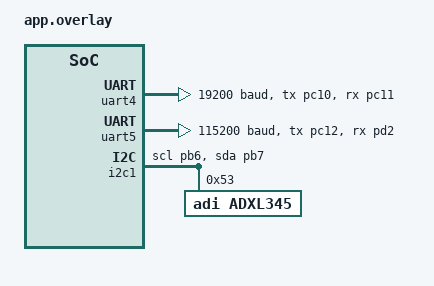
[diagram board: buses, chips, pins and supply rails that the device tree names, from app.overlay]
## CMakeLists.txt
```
cmake_minimum_required(VERSION 3.20.0)

find_package(Zephyr REQUIRED HINTS $ENV{ZEPHYR_BASE})
project(projet_transversal)

FILE(GLOB app_sources src/*.c)
target_sources(app PRIVATE src/final.c)
```

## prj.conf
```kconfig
CONFIG_SERIAL=y
CONFIG_CONSOLE=y
CONFIG_UART_CONSOLE=y
CONFIG_UART_INTERRUPT_DRIVEN=n

CONFIG_FPU=y
CONFIG_CBPRINTF_FP_SUPPORT=y

CONFIG_I2C=y
CONFIG_SENSOR=y
CONFIG_ADXL345=y
```

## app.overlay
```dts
&uart4 {
    pinctrl-0 = <&uart4_tx_pc10 &uart4_rx_pc11>;
    pinctrl-names = "default";
    current-speed = <19200>;
    status = "okay";
};

&uart5 {
    pinctrl-0 = <&uart5_tx_pc12 &uart5_rx_pd2>;
    pinctrl-names = "default";
    current-speed = <115200>;
    status = "okay";
};

&i2c1 {
    status = "okay";
    pinctrl-0 = <&i2c1_scl_pb6 &i2c1_sda_pb7>;
    pinctrl-names = "default";

    adxl345: adxl345@53 {
        compatible = "adi,adxl345";
        reg = <0x53>;
        status = "okay";
    };
};


&pinctrl {
    uart4_tx_pc10: uart4_tx_pc10 {
        pinmux = <STM32_PINMUX('C', 10, AF5)>;
        bias-pull-up;
	    drive-open-drain;	
        slew-rate = "very-high-speed";

    };

    uart4_rx_pc11: uart4_rx_pc11 {
        pinmux = <STM32_PINMUX('C', 11, AF5)>;
        bias-pull-up;
    };


    uart5_tx_pc12: uart5_tx_pc12 {
        pinmux = <STM32_PINMUX('C', 12, AF5)>;
        /*drive-open-drain;*/
        bias-pull-up;
        slew-rate = "very-high-speed";
    };

    uart5_rx_pd2: uart5_rx_pd2 {
        pinmux = <STM32_PINMUX('D', 2, AF5)>;
        bias-pull-up;
    };

    i2c1_scl_pb6: i2c1_scl_pb6 {
        pinmux = <STM32_PINMUX('B', 6, AF4)>;
        drive-open-drain;
        bias-pull-up;
    };
    i2c1_sda_pb7: i2c1_sda_pb7 {
        pinmux = <STM32_PINMUX('B', 7, AF4)>;
        drive-open-drain;
        bias-pull-up;
    };
};


&gpioa {
    status = "okay";
};
&gpiob {
    status = "okay";
};
```

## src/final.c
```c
#include <zephyr/kernel.h>
#include <zephyr/device.h>
#include <zephyr/drivers/uart.h>
#include <zephyr/drivers/gpio.h>
#include <zephyr/drivers/sensor.h>
#include <zephyr/sys/atomic.h>
#include <string.h>
#include <stdio.h>
#include <zephyr/devicetree.h>

#define SERIALIZER_DEV DT_NODELABEL(uart4)
#define RPI_UART_DEV   DT_NODELABEL(uart5)
#define GPIOA_NODE     DT_NODELABEL(gpioa)
#define ACCEL_NODE     DT_NODELABEL(adxl345)
#define BUTTON_NODE    DT_ALIAS(sw0)

#define RX_BUF_SIZE          64
#define CHOC_THRESHOLD_Z     8.0f
#define CHOC_THRESHOLD_X     8.0f
#define CHOC_THRESHOLD_Y     8.0f
#define UART_READ_TIMEOUT_MS 100

static const struct device        *serializer, *gpioa, *accel_dev;
static const struct device        *rpi_uart;
static const struct gpio_dt_spec   button = GPIO_DT_SPEC_GET(BUTTON_NODE, gpios);

static atomic_t is_moving_forward  = ATOMIC_INIT(0);
static atomic_t shared_distance_cm = ATOMIC_INIT(999);

K_MUTEX_DEFINE(serializer_mutex);
K_MUTEX_DEFINE(rpi_uart_mutex);     /* protection uart5 partagé entre threads */

/* ── Stacks des threads ───────────────────────────────────────────────── */
#define ACCEL_STACK_SIZE   1024
#define ACCEL_PRIORITY        5
#define SONAR_STACK_SIZE   1024
#define SONAR_PRIORITY        6
#define BUTTON_STACK_SIZE   512
#define BUTTON_PRIORITY       4   /* priorité plus haute : réactivité bouton */

K_THREAD_STACK_DEFINE(accel_stack_area,  ACCEL_STACK_SIZE);
K_THREAD_STACK_DEFINE(sonar_stack_area,  SONAR_STACK_SIZE);
K_THREAD_STACK_DEFINE(button_stack_area, BUTTON_STACK_SIZE);

struct k_thread accel_thread_data;
struct k_thread sonar_thread_data;
struct k_thread button_thread_data;

/* ════════════════════════════════════════════════════════════════════════
 *  Utilitaires
 * ════════════════════════════════════════════════════════════════════════ */

static void print_float(const char *prefix, float val, const char *suffix)
{
    int sign    = (val < 0.0f) ? -1 : 1;
    float abs_v = (val < 0.0f) ? -val : val;
    int integer = (int)abs_v;
    int frac    = (int)((abs_v - (float)integer) * 100.0f);

    if (sign < 0) {
        printk("%s-%d.%02d%s", prefix, integer, frac, suffix);
    } else {
        printk("%s%d.%02d%s", prefix, integer, frac, suffix);
    }
}

/* ════════════════════════════════════════════════════════════════════════
 *  Envoi UART
 * ════════════════════════════════════════════════════════════════════════ */

static void uart_send_raw(const struct device *dev, const char *msg)
{
    for (int i = 0; msg[i] != '\0'; i++) {
        uart_poll_out(dev, msg[i]);
    }
}

static void robot_send_cmd(const struct device *dev, const char *cmd)
{
    printk("[SERIAL→] '%s\r'\n", cmd);  /* log avant envoi */
    size_t len = strlen(cmd);
    for (int i = 0; i < (int)len; i++) {
        uart_poll_out(dev, cmd[i]);
    }
    uart_poll_out(dev, '\r');
}

/* Envoi vers RPi (uart5) — protégé mutex */
static void rpi_send(const char *msg)
{
    k_mutex_lock(&rpi_uart_mutex, K_FOREVER);
    uart_send_raw(rpi_uart, msg);
    k_mutex_unlock(&rpi_uart_mutex);
    printk("[TX→RPi] %s", msg);
}

/* ════════════════════════════════════════════════════════════════════════
 *  Commandes moteurs
 * ════════════════════════════════════════════════════════════════════════ */

static void safe_stop(void)
{
    k_mutex_lock(&serializer_mutex, K_FOREVER);
    robot_send_cmd(serializer, "stop");
    k_mutex_unlock(&serializer_mutex);
    atomic_set(&is_moving_forward, 0);
    printk("[MOTOR] STOP (safe)\n");
}

void set_motors(const struct device *uart_dev, int left_velocity, int right_velocity)
{
    char cmd[64];
    snprintf(cmd, sizeof(cmd), "mogo 1:%d 2:%d;", left_velocity, right_velocity);

    k_mutex_lock(&serializer_mutex, K_FOREVER);
    robot_send_cmd(uart_dev, cmd);
    k_mutex_unlock(&serializer_mutex);

    atomic_set(&is_moving_forward,
               (left_velocity > 0 && right_velocity > 0) ? 1 : 0);

    printk("[MOTOR] L=%d R=%d\n", left_velocity, right_velocity);
    printk("[MOTOR] set_motors L=%d R=%d → cmd='%s'\n", left_velocity, right_velocity, cmd);
}

void stop(const struct device *uart_dev)
{
    k_mutex_lock(&serializer_mutex, K_FOREVER);
    robot_send_cmd(uart_dev, "stop");
    k_mutex_unlock(&serializer_mutex);
    atomic_set(&is_moving_forward, 0);
    printk("[MOTOR] STOP\n");
}

/* ════════════════════════════════════════════════════════════════════════
 *  Parsing / exécution commandes RPi
 * ════════════════════════════════════════════════════════════════════════ */

int uart_read_line(const struct device *dev, int first_char,
                   char *buf, int max_len, uint32_t timeout_ms)
{
    int idx = 0;
    unsigned char c;

    if (first_char >= 0 && first_char != '\r' && first_char != '\n') {
        if (idx < max_len - 1) {
            buf[idx++] = (unsigned char)first_char;
        }
    }

    uint32_t deadline = k_uptime_get_32() + timeout_ms;

    while (1) {
        if (uart_poll_in(dev, &c) == 0) {
            if (c == '\r' || c == '\n') {
                if (idx > 0) {
                    buf[idx] = '\0';
                    return idx;
                }
            } else if (idx < max_len - 1) {
                buf[idx++] = c;
            }
        }

        if (k_uptime_get_32() >= deadline) {
            if (idx > 0) {
                buf[idx] = '\0';
                return idx;
            }
            return -1;
        }

        k_yield();
    }
}

typedef enum {
    CMD_FORWARD, CMD_BACKWARD, CMD_TURN_LEFT, CMD_TURN_RIGHT,
    CMD_STOP, CMD_UNKNOWN
} command_t;

typedef struct { command_t cmd; int v; int turn; } robot_command_t;

command_t parse_command(const char *str, int *v, int *turn)
{
    char cmd[16];
    *v    = 0;
    *turn = 0;
    int n = sscanf(str, "%15s %d %d", cmd, v, turn);

    if (n < 1) return CMD_UNKNOWN;

    if (strcmp(cmd, "FWD")  == 0) return CMD_FORWARD;
    if (strcmp(cmd, "BWD")  == 0) return CMD_BACKWARD;
    if (strcmp(cmd, "TR")   == 0) return CMD_TURN_RIGHT;
    if (strcmp(cmd, "TL")   == 0) return CMD_TURN_LEFT;
    if (strcmp(cmd, "STOP") == 0) return CMD_STOP;

    return CMD_UNKNOWN;
}

void execute_command(const struct device *uart_dev, robot_command_t *c)
{
    switch (c->cmd) {
        case CMD_FORWARD:
            set_motors(uart_dev,  c->v,              c->v);             break;
        case CMD_BACKWARD:
            set_motors(uart_dev, -c->v,             -c->v);             break;
        case CMD_TURN_LEFT:
            set_motors(uart_dev,  c->v + c->turn,    c->v - c->turn);   break;
        case CMD_TURN_RIGHT:
            set_motors(uart_dev,  c->v - c->turn,    c->v + c->turn);   break;
        case CMD_STOP:
            stop(uart_dev); break;
        default:
            printk("[CMD] Commande inconnue → STOP\n");
            stop(uart_dev); break;
    }
}

void process(const struct device *uart_dev, char *msg)
{
    robot_command_t cmd;
    int v = 0, turn = 0;

    cmd.cmd  = parse_command(msg, &v, &turn);
    cmd.v    = v;
    cmd.turn = turn;

    execute_command(uart_dev, &cmd);
}

/* ════════════════════════════════════════════════════════════════════════
 *  Thread : sonar HC-SR04
 * ════════════════════════════════════════════════════════════════════════ */

static uint32_t measure_distance_once(void)
{
    gpio_pin_set(gpioa, 8, 1);
    k_busy_wait(10);
    gpio_pin_set(gpioa, 8, 0);

    uint32_t timeout_rise = 20000u;
    while (!gpio_pin_get(gpioa, 9)) {
        if (timeout_rise-- == 0) return 999u;
        k_busy_wait(1);
    }
    uint32_t start = k_cycle_get_32();

    uint32_t timeout_fall = 20000u;
    while (gpio_pin_get(gpioa, 9)) {
        if (timeout_fall-- == 0) return 999u;
        k_busy_wait(1);
    }
    uint32_t end = k_cycle_get_32();

    uint32_t microseconds = k_cyc_to_us_floor32(end - start);
    return microseconds / 58u;
}

void sonar_thread_main(void *p1, void *p2, void *p3)
{
    ARG_UNUSED(p1); ARG_UNUSED(p2); ARG_UNUSED(p3);

    printk("[SONAR] Thread démarré\n");

    while (1) {
        uint32_t d = measure_distance_once();
        atomic_set(&shared_distance_cm, (atomic_val_t)d);

        if (d < 50u) {
            printk("[SONAR] Distance : %u cm\n", d);
        }

        k_msleep(50);
    }
}

/* ════════════════════════════════════════════════════════════════════════
 *  Thread : accéléromètre ADXL345
 * ════════════════════════════════════════════════════════════════════════ */

void accel_thread_main(void *p1, void *p2, void *p3)
{
    ARG_UNUSED(p1); ARG_UNUSED(p2); ARG_UNUSED(p3);

    printk("[ACCEL] Thread démarré\n");

    struct sensor_value accel[3];

    while (1) {
        if (sensor_sample_fetch(accel_dev) < 0) {
            printk("[ACCEL] Erreur fetch ADXL345\n");
            k_msleep(20);
            continue;
        }

        sensor_channel_get(accel_dev, SENSOR_CHAN_ACCEL_XYZ, accel);

        float x  = sensor_value_to_float(&accel[0]);
        float y  = sensor_value_to_float(&accel[1]);
        float z  = sensor_value_to_float(&accel[2]);
        float dz = z - 23.0f;

        if (x > CHOC_THRESHOLD_X || x < -CHOC_THRESHOLD_X) {
            safe_stop();
            print_float("[ACCEL] COLLISION X : ", x, " m/s2\n");
        } else if (y > CHOC_THRESHOLD_Y || y < -CHOC_THRESHOLD_Y) {
            safe_stop();
            print_float("[ACCEL] COLLISION Y : ", y, " m/s2\n");
        } else if (dz > CHOC_THRESHOLD_Z || dz < -CHOC_THRESHOLD_Z) {
            safe_stop();
            print_float("[ACCEL] PERTURBATION Z : ", z, " m/s2\n");
        }

        k_msleep(20);
    }
}

/* ════════════════════════════════════════════════════════════════════════
 *  Thread : bouton physique → CONFIRM vers RPi
 * ════════════════════════════════════════════════════════════════════════ */

void button_thread_main(void *p1, void *p2, void *p3)
{
    ARG_UNUSED(p1); ARG_UNUSED(p2); ARG_UNUSED(p3);

    printk("[BTN] Thread démarré (sw0)\n");

    int last_state = gpio_pin_get_dt(&button);

    while (1) {
        int state = gpio_pin_get_dt(&button);

        if (state == 0 && last_state == 1) {
            /* Front montant détecté → appui bouton */
            printk("[BTN] Appui détecté → envoi CONFIRM vers RPi\n");
            rpi_send("CONFIRM\r\n");
        }

        last_state = state;
        k_msleep(50); /* anti-rebond */
    }
}

/* ════════════════════════════════════════════════════════════════════════
 *  main
 * ════════════════════════════════════════════════════════════════════════ */

int main(void)
{
    serializer = DEVICE_DT_GET(SERIALIZER_DEV);
    rpi_uart   = DEVICE_DT_GET(RPI_UART_DEV);
    gpioa      = DEVICE_DT_GET(GPIOA_NODE);
    accel_dev  = DEVICE_DT_GET(ACCEL_NODE);

    /* Vérification des périphériques */
    if (!device_is_ready(serializer)) {
        printk("[INIT] ERREUR : serializer (uart4) non prêt\n"); return 0;
    }
    if (!device_is_ready(rpi_uart)) {
        printk("[INIT] ERREUR : rpi_uart (uart5) non prêt\n");   return 0;
    }
    if (!device_is_ready(gpioa)) {
        printk("[INIT] ERREUR : gpioa non prêt\n");               return 0;
    }
    if (!device_is_ready(accel_dev)) {
        printk("[INIT] ERREUR : ADXL345 non prêt\n");             return 0;
    }
    if (!gpio_is_ready_dt(&button)) {
        printk("[INIT] ERREUR : bouton (sw0) non prêt\n");        return 0;
    }

    /* Config GPIO */
    gpio_pin_configure(gpioa, 8, GPIO_OUTPUT_INACTIVE); /* sonar TRIG */
    gpio_pin_configure(gpioa, 9, GPIO_INPUT);           /* sonar ECHO */
    gpio_pin_configure_dt(&button, GPIO_INPUT);

    printk("[INIT] Tous les périphériques OK\n");

    /* Lancement des threads */
    k_tid_t accel_tid = k_thread_create(
        &accel_thread_data, accel_stack_area,
        K_THREAD_STACK_SIZEOF(accel_stack_area),
        accel_thread_main, NULL, NULL, NULL,
        ACCEL_PRIORITY, 0, K_NO_WAIT);
    k_thread_name_set(accel_tid, "accel_monitor");
    printk("[INIT] Thread accel_monitor lancé\n");

    k_tid_t sonar_tid = k_thread_create(
        &sonar_thread_data, sonar_stack_area,
        K_THREAD_STACK_SIZEOF(sonar_stack_area),
        sonar_thread_main, NULL, NULL, NULL,
        SONAR_PRIORITY, 0, K_NO_WAIT);
    k_thread_name_set(sonar_tid, "sonar_measure");
    printk("[INIT] Thread sonar_measure lancé\n");

    k_tid_t button_tid = k_thread_create(
        &button_thread_data, button_stack_area,
        K_THREAD_STACK_SIZEOF(button_stack_area),
        button_thread_main, NULL, NULL, NULL,
        BUTTON_PRIORITY, 0, K_NO_WAIT);
    k_thread_name_set(button_tid, "button_monitor");
    printk("[INIT] Thread button_monitor lancé\n");

    k_sleep(K_MSEC(1000));

    /* ── Boucle principale : écoute RPi ─────────────────────────────── */
    char rx_buf[RX_BUF_SIZE];
    unsigned char first_char;

    printk("[MAIN] Système prêt. Écoute RPi active (uart5)...\n");

    while (1) {
        uint32_t dist = (uint32_t)atomic_get(&shared_distance_cm);

        /* Sécurité obstacle */
        if (dist > 0 && dist < 20 && atomic_get(&is_moving_forward)) {
            safe_stop();
            printk("[MAIN] OBSTACLE (%u cm) : ARRÊT SÉCURITÉ\n", dist);
        }

        /* Réception commande RPi */
        if (uart_poll_in(rpi_uart, &first_char) == 0) {
            if (first_char == '\n' || first_char == '\r') continue;
            
            printk("[RX] Premier octet : 0x%02X '%c'\n",
                   first_char, (first_char >= 0x20 && first_char < 0x7F) ? first_char : '?');

            int len = uart_read_line(rpi_uart, (int)first_char,
                                     rx_buf, sizeof(rx_buf),
                                     UART_READ_TIMEOUT_MS);
            if (len > 0) {
                printk("[RX] Commande RPi : '%s' (%d octets)\n", rx_buf, len);

                if (strncmp(rx_buf, "FWD", 3) == 0 && dist > 0 && dist < 20) {
                    printk("[RX] FWD refusé : obstacle à %u cm\n", dist);
                    safe_stop();
                } else {
                    process(serializer, rx_buf);
                }
            } else {
                printk("[RX] Timeout ou trame vide, flush buffer\n");
                unsigned char flush;
                while (uart_poll_in(rpi_uart, &flush) == 0) { /* vide */ }
            }
        }

        k_msleep(10);
    }

    return 0;
}
```

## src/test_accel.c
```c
#include <zephyr/kernel.h>
#include <zephyr/device.h>
#include <zephyr/drivers/uart.h>
#include <zephyr/drivers/sensor.h>
#include <zephyr/sys/atomic.h>
#include <zephyr/devicetree.h>
#include <string.h>
#include <stdio.h>

/* ── Périphériques ──────────────────────────────────────────────────────── */
#define SERIALIZER_DEV DT_NODELABEL(uart4)
#define ACCEL_NODE     DT_NODELABEL(adxl345)

/* ── Paramètres du test ─────────────────────────────────────────────────── */
#define TEST_VELOCITY      50    /* Vitesse d'avance (0–127 selon votre Serializer) */
#define RESUME_DELAY_MS  2000    /* Pause après un choc avant de reprendre (ms)     */
#define LOG_INTERVAL_MS   200    /* Affichage des valeurs brutes toutes les N ms    */

/* ── Seuils de détection (en m/s²) ─────────────────────────────────────── */
/*
 * Commencez avec des seuils larges, puis réduisez-les selon vos essais.
 * Valeurs typiques au repos (ADXL345 à plat) :
 *   X ≈ 0, Y ≈ 0, Z ≈ 9.81
 * Un petit coup de main génère typiquement 3–6 m/s² sur l'axe concerné.
 */
#define THRESHOLD_X  8.0f   /* Choc frontal / arrière  */
#define THRESHOLD_Y  8.0f   /* Choc latéral            */
#define THRESHOLD_Z  8.0f   /* Seuil appliqué sur (Z - 9.81), choc vertical */

/* ── Threads ────────────────────────────────────────────────────────────── */
#define ACCEL_STACK_SIZE 1024
#define ACCEL_PRIORITY      5

K_THREAD_STACK_DEFINE(accel_stack_area, ACCEL_STACK_SIZE);
static struct k_thread accel_thread_data;

/* ── Partage d'état entre threads ──────────────────────────────────────── */
static const struct device *serializer;
static const struct device *accel_dev;

K_MUTEX_DEFINE(serializer_mutex);

/*
 * État du robot partagé entre les deux threads :
 *   0 = arrêté / en pause après choc
 *   1 = en marche
 */
static atomic_t robot_running = ATOMIC_INIT(0);

/*
 * Drapeau levé par le thread accéléromètre pour signaler un choc.
 * Le thread principal le lit, attend RESUME_DELAY_MS, puis reprend.
 */
static atomic_t shock_detected = ATOMIC_INIT(0);

/* ── Helpers ────────────────────────────────────────────────────────────── */

/* Affiche un float avec 2 décimales sans %f (compatible printk Zephyr) */
static void print_float(const char *prefix, float val, const char *suffix)
{
    int sign    = (val < 0.0f) ? -1 : 1;
    float abs_v = (val < 0.0f) ? -val : val;
    int integer = (int)abs_v;
    int frac    = (int)((abs_v - (float)integer) * 100.0f);

    if (sign < 0) {
        printk("%s-%d.%02d%s", prefix, integer, frac, suffix);
    } else {
        printk("%s%d.%02d%s", prefix, integer, frac, suffix);
    }
}

/* Envoie une commande ASCII au Serializer via UART */
static void robot_send_cmd(const char *cmd)
{
    size_t len = strlen(cmd);
    k_mutex_lock(&serializer_mutex, K_FOREVER);
    for (int i = 0; i < (int)len; i++) {
        uart_poll_out(serializer, cmd[i]);
    }
    uart_poll_out(serializer, '\r');
    k_mutex_unlock(&serializer_mutex);
}

/* Démarre l'avance à TEST_VELOCITY sur les deux moteurs */
static void robot_go_forward(void)
{
    char cmd[32];
    snprintf(cmd, sizeof(cmd), "mogo 1:%d 2:%d;", TEST_VELOCITY, TEST_VELOCITY);
    robot_send_cmd(cmd);
    atomic_set(&robot_running, 1);
    printk("[MOTEURS] Avance (vitesse=%d)\n", TEST_VELOCITY);
}

/* Arrête les moteurs immédiatement */
static void robot_stop(void)
{
    robot_send_cmd("stop");
    atomic_set(&robot_running, 0);
}

/* ── Thread accéléromètre ───────────────────────────────────────────────── */
/*
 * Tourne à 50 Hz (toutes les 20 ms).
 * Affiche les valeurs brutes toutes les LOG_INTERVAL_MS pour le suivi en live.
 * Si un seuil est franchi, stoppe le robot et lève shock_detected.
 */
static void accel_thread_main(void *p1, void *p2, void *p3)
{
    ARG_UNUSED(p1); ARG_UNUSED(p2); ARG_UNUSED(p3);

    struct sensor_value accel[3];
    uint32_t last_log = 0;

    printk("[ACCEL] Thread démarré. Surveillance active.\n");
    printk("[ACCEL] Seuils : X=+/-%.0f  Y=+/-%.0f  Z(delta)+/-%.0f m/s2\n",
           (double)THRESHOLD_X, (double)THRESHOLD_Y, (double)THRESHOLD_Z);

    while (1) {
        /* Lecture de l'accéléromètre */
        if (sensor_sample_fetch(accel_dev) < 0) {
            printk("[ACCEL] ERREUR fetch ADXL345\n");
            k_msleep(20);
            continue;
        }
        sensor_channel_get(accel_dev, SENSOR_CHAN_ACCEL_XYZ, accel);

        float x = sensor_value_to_float(&accel[0]);
        float y = sensor_value_to_float(&accel[1]);
        float z = sensor_value_to_float(&accel[2]);
        float dz = z - 23.0f;   /* Composante dynamique sur Z */

        /* ── Log périodique des valeurs brutes ──────────────────────────── */
        uint32_t now = k_uptime_get_32();
        if ((now - last_log) >= LOG_INTERVAL_MS) {
            last_log = now;
            /* Formatage sur une seule ligne pour faciliter le copier-coller */
            printk("[DATA] X=");
            print_float("", x, "  Y=");
            print_float("", y, "  Z=");
            print_float("", z, "  dZ=");
            print_float("", dz, " m/s2\n");
        }

        /* ── Détection de choc ──────────────────────────────────────────── */
        /*
         * On ne détecte un choc que si le robot est en marche.
         * (Évite les fausses alertes à l'arrêt ou pendant la pause.)
         */
        if (!atomic_get(&robot_running)) {
            k_msleep(20);
            continue;
        }

        const char *axe   = NULL;
        float       val   = 0.0f;
        float       seuil = 0.0f;

        if (x > THRESHOLD_X || x < -THRESHOLD_X) {
            axe   = "X (frontal/arriere)";
            val   = x;
            seuil = THRESHOLD_X;
        } else if (y > THRESHOLD_Y || y < -THRESHOLD_Y) {
            axe   = "Y (lateral)";
            val   = y;
            seuil = THRESHOLD_Y;
        } else if (dz > THRESHOLD_Z || dz < -THRESHOLD_Z) {
            axe   = "Z (vertical)";
            val   = dz;
            seuil = THRESHOLD_Z;
        }

        if (axe != NULL) {
            robot_stop();
            printk("\n========================================\n");
            printk("  *** CHOC DETECTE sur axe %s ***\n", axe);
            print_float("  Valeur mesurée : ", val,   " m/s2\n");
            print_float("  Seuil         : ", seuil,  " m/s2\n");
            printk("  Robot arrêté. Reprise dans %d ms...\n", RESUME_DELAY_MS);
            printk("========================================\n\n");

            /* Signale au thread principal pour qu'il gère la reprise */
            atomic_set(&shock_detected, 1);
        }

        k_msleep(20); /* 50 Hz */
    }
}

/* ── Main ───────────────────────────────────────────────────────────────── */
int main(void)
{
    /* 1. Initialisation des périphériques */
    serializer = DEVICE_DT_GET(SERIALIZER_DEV);
    accel_dev  = DEVICE_DT_GET(ACCEL_NODE);

    if (!device_is_ready(serializer)) {
        printk("[ERREUR] Serializer (uart4) non prêt\n");
        return 0;
    }
    if (!device_is_ready(accel_dev)) {
        printk("[ERREUR] ADXL345 non prêt\n");
        return 0;
    }

    printk("\n=== TEST ACCELEROMETRE ADXL345 ===\n");
    printk("Lancement du thread accéléromètre...\n");

    /* 2. Lancement du thread accéléromètre */
    k_tid_t accel_tid = k_thread_create(
        &accel_thread_data, accel_stack_area,
        K_THREAD_STACK_SIZEOF(accel_stack_area),
        accel_thread_main, NULL, NULL, NULL,
        ACCEL_PRIORITY, 0, K_NO_WAIT);
    k_thread_name_set(accel_tid, "accel_test");

    /* Petite pause pour laisser le thread démarrer et afficher son header */
    k_sleep(K_MSEC(500));

    /* 3. Mise en marche initiale */
    printk("[MAIN] Démarrage de l'avance automatique.\n");
    printk("[MAIN] Donnez des petits coups au robot pour tester les seuils.\n\n");
    robot_go_forward();

    /* 4. Boucle principale : gère uniquement la reprise après choc */
    while (1) {
        if (atomic_cas(&shock_detected, 1, 0)) {
            /*
             * Un choc a été détecté par le thread accéléromètre.
             * On attend RESUME_DELAY_MS puis on reprend l'avance.
             * Pendant cette pause, les logs de l'accéléromètre continuent.
             */
            k_msleep(RESUME_DELAY_MS);

            printk("[MAIN] Reprise de l'avance après choc.\n\n");
            robot_go_forward();
        }

        k_msleep(50); /* Cadence de vérification de la boucle principale */
    }

    return 0;
}
```

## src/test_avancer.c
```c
#include <zephyr/kernel.h>
#include <zephyr/device.h>
#include <zephyr/drivers/uart.h>
#include <zephyr/devicetree.h>
#include <string.h>

#define SERIALIZER_DEV DT_NODELABEL(uart4)

int main(void)
{
    const struct device *serializer = DEVICE_DT_GET(SERIALIZER_DEV);

    if (!device_is_ready(serializer)) {
        printk("[ERREUR] serializer non prêt\n");
        return 0;
    }

    printk("[OK] Serializer prêt, envoi commande moteurs...\n");

    const char *cmd = "mogo 1:50 2:50;\r";
    for (int i = 0; cmd[i] != '\0'; i++) {
        uart_poll_out(serializer, cmd[i]);
    }

    printk("[OK] Commande envoyée : %s\n", cmd);

    while (1) {
        k_msleep(1000);
    }

    return 0;
}
```

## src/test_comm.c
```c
#include <zephyr/kernel.h>
#include <zephyr/device.h>
#include <zephyr/drivers/uart.h>
#include <zephyr/devicetree.h>
#include <string.h>

#define RPI_UART_DEV DT_NODELABEL(uart5)
#define RX_BUF_SIZE  64

static const struct device *rpi_uart;

/* Ring buffer simple pour la réception */
static char rx_buf[RX_BUF_SIZE];
static volatile int rx_head = 0;
static volatile int rx_tail = 0;

/* Callback UART appelé par interruption */
static void uart_cb(const struct device *dev, void *user_data)
{
    if (!uart_irq_update(dev)) return;

    while (uart_irq_rx_ready(dev)) {
        unsigned char c;
        int ret = uart_fifo_read(dev, &c, 1);
        if (ret <= 0) break;

        int next = (rx_head + 1) % RX_BUF_SIZE;
        if (next != rx_tail) {
            rx_buf[rx_head] = c;
            rx_head = next;
        }
        /* si buffer plein, on ignore l'octet */
    }
}

/* Lit un octet depuis le ring buffer, retourne -1 si vide */
static int rb_read(unsigned char *out)
{
    if (rx_tail == rx_head) return -1;
    *out = rx_buf[rx_tail];
    rx_tail = (rx_tail + 1) % RX_BUF_SIZE;
    return 0;
}

/* Envoie une string sur uart5 */
static void uart_send(const char *s)
{
    while (*s) {
        uart_poll_out(rpi_uart, *s++);
    }
}

int main(void)
{
    rpi_uart = DEVICE_DT_GET(RPI_UART_DEV);

    printk("\n");
    printk("╔══════════════════════════════════════════╗\n");
    printk("║   TEST COMMUNICATION UART5 (RPi→STM32)  ║\n");
    printk("║   Baudrate : 115200                      ║\n");
    printk("║   Pins     : TX=PC12  RX=PD2             ║\n");
    printk("╚══════════════════════════════════════════╝\n\n");

    if (!device_is_ready(rpi_uart)) {
        printk("[ERREUR] uart5 non pret !\n");
        return 0;
    }

    /* Enregistre le callback d'interruption */
    uart_irq_callback_set(rpi_uart, uart_cb);
    uart_irq_rx_enable(rpi_uart);

    printk("[OK] uart5 pret (interrupt driven).\n");
    printk("     En attente de donnees depuis la Raspberry Pi...\n\n");

    char line_buf[64];
    int  line_idx   = 0;
    uint32_t byte_count = 0;

    while (1) {
        unsigned char c;
        if (rb_read(&c) == 0) {
            byte_count++;

            if (c >= 0x20 && c < 0x7F) {
                printk("[RX #%u] HEX=0x%02X  ASCII='%c'\n", byte_count, c, c);
            } else {
                const char *name;
                switch (c) {
                    case '\r':  name = "<CR  \\r>"; break;
                    case '\n':  name = "<LF  \\n>"; break;
                    case 0x00:  name = "<NUL>    "; break;
                    case 0x7F:  name = "<DEL>    "; break;
                    default:    name = "<CTRL>   "; break;
                }
                printk("[RX #%u] HEX=0x%02X  %s\n", byte_count, c, name);
            }

            if (c == '\r' || c == '\n') {
                if (line_idx > 0) {
                    line_buf[line_idx] = '\0';

                    printk("\n");
                    printk("┌─────────────────────────────────────┐\n");
                    printk("│ LIGNE COMPLETE : %-19s │\n", line_buf);
                    printk("│ Longueur       : %-2d octets           │\n", line_idx);
                    printk("└─────────────────────────────────────┘\n\n");

                    uart_send("ACK\r\n");
                    printk("[TX] ACK envoye vers RPi.\n\n");

                    line_idx = 0;
                }
            } else if (line_idx < (int)sizeof(line_buf) - 1) {
                line_buf[line_idx++] = (char)c;
            }
        }

        k_yield();
    }

    return 0;
}
```
